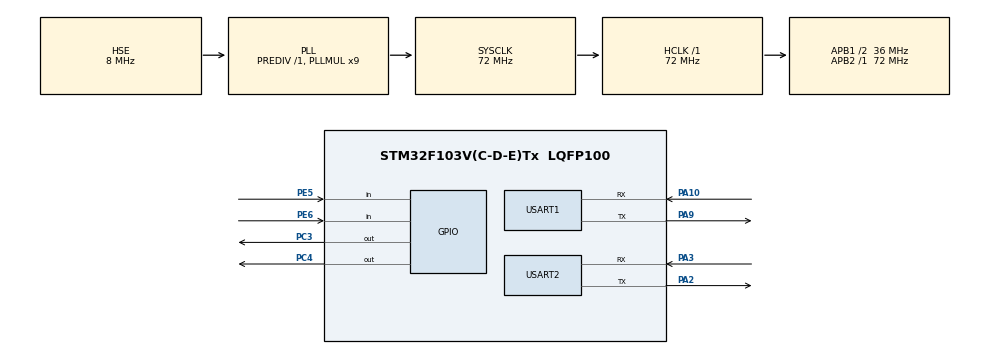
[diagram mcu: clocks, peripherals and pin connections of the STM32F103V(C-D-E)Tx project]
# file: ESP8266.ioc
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Mcu.Family=STM32F1
Mcu.Name=STM32F103V(C-D-E)Tx
Mcu.Package=LQFP100
NVIC.PriorityGroup=NVIC_PRIORITYGROUP_4
NVIC.TIM6_IRQn=true\:0\:0\:false\:false\:true\:true
NVIC.TIM7_IRQn=true\:0\:0\:false\:false\:true\:true
NVIC.USART2_IRQn=true\:0\:0\:false\:false\:true\:true
OSC_IN.Mode=HSE-External-Oscillator
OSC_IN.Signal=RCC_OSC_IN
OSC_OUT.Mode=HSE-External-Oscillator
OSC_OUT.Signal=RCC_OSC_OUT
PA10.Mode=Asynchronous
PA10.Signal=USART1_RX
PA2.Mode=Asynchronous
PA2.Signal=USART2_TX
PA3.Mode=Asynchronous
PA3.Signal=USART2_RX
PA9.Mode=Asynchronous
PA9.Signal=USART1_TX
PC3.PinState=GPIO_PIN_SET
PC3.Signal=GPIO_Output
PC4.PinState=GPIO_PIN_SET
PC4.Signal=GPIO_Output
PE5.GPIO_PuPd=GPIO_PULLUP
PE5.Signal=GPIO_Input
PE6.GPIO_PuPd=GPIO_PULLUP
PE6.Signal=GPIO_Input
ProjectManager.HeapSize=0x512
ProjectManager.StackSize=0x1024
ProjectManager.TargetToolchain=TrueSTUDIO
RCC.AHBFreq_Value=72000000
RCC.APB1CLKDivider=RCC_HCLK_DIV2
RCC.APB1Freq_Value=36000000
RCC.APB1TimFreq_Value=72000000
RCC.APB2Freq_Value=72000000
RCC.APB2TimFreq_Value=72000000
RCC.HCLKFreq_Value=72000000
RCC.PLLMUL=RCC_PLL_MUL9
RCC.PLLSourceVirtual=RCC_PLLSOURCE_HSE
RCC.SYSCLKFreq_VALUE=72000000
RCC.SYSCLKSource=RCC_SYSCLKSOURCE_PLLCLK
RCC.USBFreq_Value=72000000
TIM6.Period=999
TIM6.Prescaler=71
TIM7.Period=999
TIM7.Prescaler=71
USART1.VirtualMode=VM_ASYNC
USART2.VirtualMode=VM_ASYNC
VP_SYS_VS_ND.Mode=No_Debug
VP_TIM6_VS_ClockSourceINT.Mode=Enable_Timer
VP_TIM7_VS_ClockSourceINT.Mode=Enable_Timer
board=ESP8266

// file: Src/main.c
/**
  ******************************************************************************
  * File Name          : main.c
  * Description        : Main program body
  ******************************************************************************
  ** This notice applies to any and all portions of this file
  * that are not between comment pairs USER CODE BEGIN and
  * USER CODE END. Other portions of this file, whether
  * inserted by the user or by software development tools
  * are owned by their respective copyright owners.
  *
  * COPYRIGHT(c) 2017 STMicroelectronics
  *
  * Redistribution and use in source and binary forms, with or without modification,
  * are permitted provided that the following conditions are met:
  *   1. Redistributions of source code must retain the above copyright notice,
  *      this list of conditions and the following disclaimer.
  *   2. Redistributions in binary form must reproduce the above copyright notice,
  *      this list of conditions and the following disclaimer in the documentation
  *      and/or other materials provided with the distribution.
  *   3. Neither the name of STMicroelectronics nor the names of its contributors
  *      may be used to endorse or promote products derived from this software
  *      without specific prior written permission.
  *
  * THIS SOFTWARE IS PROVIDED BY THE COPYRIGHT HOLDERS AND CONTRIBUTORS "AS IS"
  * AND ANY EXPRESS OR IMPLIED WARRANTIES, INCLUDING, BUT NOT LIMITED TO, THE
  * IMPLIED WARRANTIES OF MERCHANTABILITY AND FITNESS FOR A PARTICULAR PURPOSE ARE
  * DISCLAIMED. IN NO EVENT SHALL THE COPYRIGHT HOLDER OR CONTRIBUTORS BE LIABLE
  * FOR ANY DIRECT, INDIRECT, INCIDENTAL, SPECIAL, EXEMPLARY, OR CONSEQUENTIAL
  * DAMAGES (INCLUDING, BUT NOT LIMITED TO, PROCUREMENT OF SUBSTITUTE GOODS OR
  * SERVICES; LOSS OF USE, DATA, OR PROFITS; OR BUSINESS INTERRUPTION) HOWEVER
  * CAUSED AND ON ANY THEORY OF LIABILITY, WHETHER IN CONTRACT, STRICT LIABILITY,
  * OR TORT (INCLUDING NEGLIGENCE OR OTHERWISE) ARISING IN ANY WAY OUT OF THE USE
  * OF THIS SOFTWARE, EVEN IF ADVISED OF THE POSSIBILITY OF SUCH DAMAGE.
  *
  ******************************************************************************
  */
#include "main.h"
#include "stm32f1xx_hal.h"
#include "tim.h"
#include "usart.h"
#include "gpio.h"

/* USER CODE BEGIN Includes */
#include "hal_key.h"
#include "gizwits_protocol.h"
#include "gizwits_product.h"
/* USER CODE END Includes */

/* USER CODE BEGIN PV */
/* Private variables ---------------------------------------------------------*/
#define GIZWITS_LOG printf

/** 用户区当前设备状态结构体*/
dataPoint_t currentDataPoint;

/**@name 按键相关定义
* @{
*/
#define GPIO_KEY_NUM 2                                  ///< 定义按键成员总数
keyTypedef_t singleKey[GPIO_KEY_NUM];                   ///< 定义单个按键成员数组指针
keysTypedef_t keys;                                     ///< 定义总的按键模块结构体指针
														/**@} */

/* USER CODE END PV */

void SystemClock_Config(void);

/* USER CODE BEGIN PFP */
/* Private function prototypes -----------------------------------------------*/

/* USER CODE END PFP */

/* USER CODE BEGIN 0 */

/**
* key1按键短按处理
* @param none
* @return none
*/
void key1ShortPress(void)
{
	GIZWITS_LOG("KEY1 PRESS ,Production Mode\n");
	gizwitsSetMode(WIFI_PRODUCTION_TEST);
}

/**
* key1按键长按处理
* @param none
* @return none
*/
void key1LongPress(void)
{
	GIZWITS_LOG("KEY1 PRESS LONG ,Wifi Reset\n");
	gizwitsSetMode(WIFI_RESET_MODE);
}

/**
* key2按键短按处理
* @param none
* @return none
*/
void key2ShortPress(void)
{
	GIZWITS_LOG("KEY2 PRESS ,Soft AP mode\n");
	gizwitsSetMode(WIFI_SOFTAP_MODE);
}

/**
* key2按键长按处理
* @param none
* @return none
*/
void key2LongPress(void)
{
	//AirLink mode
	GIZWITS_LOG("KEY2 PRESS LONG ,AirLink mode\n");
	gizwitsSetMode(WIFI_AIRLINK_MODE);
	HAL_GPIO_WritePin(GPIOC, GPIO_PIN_3, GPIO_PIN_RESET);
}

/**
* 按键初始化
* @param none
* @return none
*/
void keyInit(void)
{
	singleKey[0] = keyInitOne(GPIOE, GPIO_PIN_5, key1ShortPress, key1LongPress);
	singleKey[1] = keyInitOne(GPIOE, GPIO_PIN_6, key2ShortPress, key2LongPress);
	keys.singleKey = (keyTypedef_t *)&singleKey;
	keyParaInit(&keys);
}

/* USER CODE END 0 */

int main(void)
{

  /* MCU Configuration----------------------------------------------------------*/

  /* Reset of all peripherals, Initializes the Flash interface and the Systick. */
  HAL_Init();

  /* Configure the system clock */
  SystemClock_Config();

  /* Initialize all configured peripherals */
  MX_GPIO_Init();
  MX_TIM6_Init();
  MX_TIM7_Init();
  MX_USART1_UART_Init();
  MX_USART2_UART_Init();

  /* USER CODE BEGIN 2 */

	keyInit(); //按键初始化
	uartInit(); //串口初始化
	timerInit();//定时器初始化
	gizwitsInit();

	GIZWITS_LOG("MCU Init Success \n");
  /* USER CODE END 2 */

  /* Infinite loop */
	while (1)
	{

  /* USER CODE BEGIN 3 */
		userHandle();
		gizwitsHandle((dataPoint_t *)&currentDataPoint);
	}
  /* USER CODE END 3 */

}

/** System Clock Configuration
*/
void SystemClock_Config(void)
{

  RCC_OscInitTypeDef RCC_OscInitStruct;
  RCC_ClkInitTypeDef RCC_ClkInitStruct;

    /**Initializes the CPU, AHB and APB busses clocks
    */
  RCC_OscInitStruct.OscillatorType = RCC_OSCILLATORTYPE_HSE;
  RCC_OscInitStruct.HSEState = RCC_HSE_ON;
  RCC_OscInitStruct.HSEPredivValue = RCC_HSE_PREDIV_DIV1;
  RCC_OscInitStruct.HSIState = RCC_HSI_ON;
  RCC_OscInitStruct.PLL.PLLState = RCC_PLL_ON;
  RCC_OscInitStruct.PLL.PLLSource = RCC_PLLSOURCE_HSE;
  RCC_OscInitStruct.PLL.PLLMUL = RCC_PLL_MUL9;
  if (HAL_RCC_OscConfig(&RCC_OscInitStruct) != HAL_OK)
  {
    _Error_Handler(__FILE__, __LINE__);
  }

    /**Initializes the CPU, AHB and APB busses clocks
    */
  RCC_ClkInitStruct.ClockType = RCC_CLOCKTYPE_HCLK|RCC_CLOCKTYPE_SYSCLK
                              |RCC_CLOCKTYPE_PCLK1|RCC_CLOCKTYPE_PCLK2;
  RCC_ClkInitStruct.SYSCLKSource = RCC_SYSCLKSOURCE_PLLCLK;
  RCC_ClkInitStruct.AHBCLKDivider = RCC_SYSCLK_DIV1;
  RCC_ClkInitStruct.APB1CLKDivider = RCC_HCLK_DIV2;
  RCC_ClkInitStruct.APB2CLKDivider = RCC_HCLK_DIV1;

  if (HAL_RCC_ClockConfig(&RCC_ClkInitStruct, FLASH_LATENCY_2) != HAL_OK)
  {
    _Error_Handler(__FILE__, __LINE__);
  }

    /**Configure the Systick interrupt time
    */
  HAL_SYSTICK_Config(HAL_RCC_GetHCLKFreq()/1000);

    /**Configure the Systick
    */
  HAL_SYSTICK_CLKSourceConfig(SYSTICK_CLKSOURCE_HCLK);

  /* SysTick_IRQn interrupt configuration */
  HAL_NVIC_SetPriority(SysTick_IRQn, 0, 0);
}

void _Error_Handler(char * file, int line)
{
	while (1)
	{
	}
}

/************************ (C) COPYRIGHT STMicroelectronics *****END OF FILE****/
